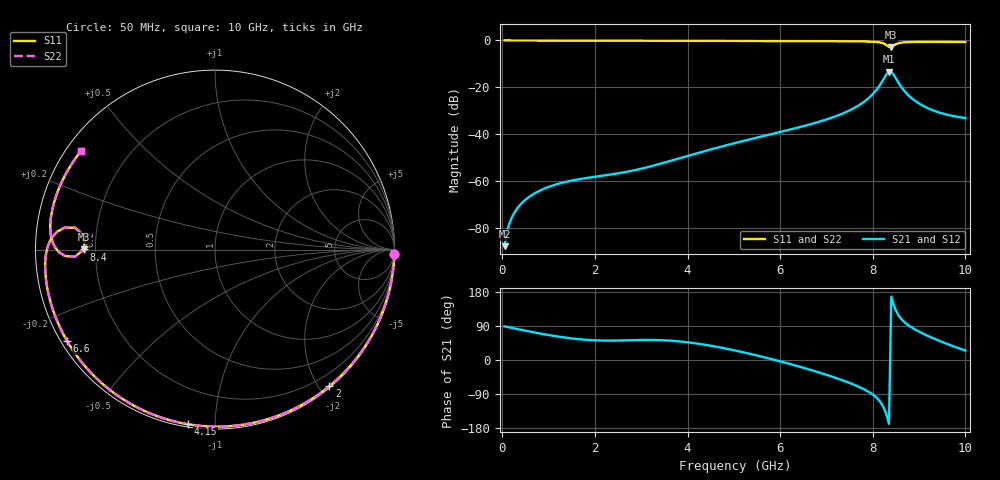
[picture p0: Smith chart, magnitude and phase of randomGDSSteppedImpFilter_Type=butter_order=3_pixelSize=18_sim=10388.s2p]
! freq	dB(S11)	phase(S11)	dB(S12)	phase(S12)
!  dB(S21)	phase(S21)	dB(S22)	phase(S22)
!S-par simulation data
#  GHz  S  DB  R 50
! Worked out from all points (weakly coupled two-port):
!   200 points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, 50 MHz to 10 GHz, reference 50 ohm
!   highest |S21| = -13.23 dB at 8.35 GHz (marker M1); lowest = -87.7 dB at 50 MHz (marker M2)
!   lowest |S11| = -2.7 dB at 8.4 GHz (marker M3), VSWR 6.38, Z = 7.83 + j0.0245 ohm
!   |S11| at or under -10 dB: nowhere
!   |S22| runs from -2.8 to 0.0 dB; largest |S21 - S12| = 0
!   S11 on the Smith chart (normalised r, x): 50 MHz: 0, -88; 2 GHz: 0.02, -2.14; 4.15 GHz: 0.01, -0.86; 6.6 GHz: 0.02, -0.28; 8.4 GHz: 0.16, +0.00; 10 GHz: 0.04, +0.33
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0.05  -0.00 -1.3  -87.69 88.7  -87.69 88.7  -0.00 -1.3
0.1  -0.00 -2.6  -81.68 87.4  -81.68 87.4  -0.00 -2.6
0.35  -0.01 -9.0  -70.90 81.0  -70.90 81.0  -0.01 -9.0
0.65  -0.02 -16.6  -65.75 73.7  -65.75 73.7  -0.02 -16.6
1.1  -0.04 -28.0  -61.75 63.9  -61.75 63.9  -0.04 -28.0
1.75  -0.06 -44.1  -58.84 53.9  -58.84 53.9  -0.06 -44.1
2  -0.06 -50.1  -58.10 52.0  -58.10 52.0  -0.06 -50.1
3.4  -0.11 -82.4  -52.62 52.5  -52.62 52.5  -0.11 -82.4
4.15  -0.13 -98.7  -48.38 44.4  -48.38 44.4  -0.13 -98.7
5.05  -0.18 -117.3  -43.60 24.5  -43.60 24.5  -0.18 -117.3
6.6  -0.28 -148.3  -36.01 -24.0  -36.01 -24.0  -0.28 -148.3
6.7  -0.28 -150.3  -35.46 -27.6  -35.46 -27.6  -0.28 -150.3
7.3  -0.34 -162.6  -31.55 -51.5  -31.55 -51.5  -0.34 -162.6
7.75  -0.41 -172.6  -27.01 -73.7  -27.01 -73.7  -0.41 -172.6
8.15  -0.83 175.6  -19.15 -108.6  -19.15 -108.6  -0.83 175.6
8.25  -1.44 171.7  -15.91 -129.5  -15.91 -129.5  -1.44 171.7
8.35  -2.73 174.1  -13.23 -168.3  -13.23 -168.3  -2.74 174.1
8.4  -2.74 179.9  -13.36 167.3  -13.36 167.3  -2.76 180.0
8.6  -0.99 179.1  -19.39 110.5  -19.39 110.5  -1.00 179.2
9  -0.60 167.5  -26.89 74.8  -26.89 74.8  -0.61 167.5
9.45  -0.60 156.7  -30.80 49.9  -30.80 49.9  -0.60 156.7
10  -0.66 143.8  -33.06 25.0  -33.06 25.0  -0.66 143.8
